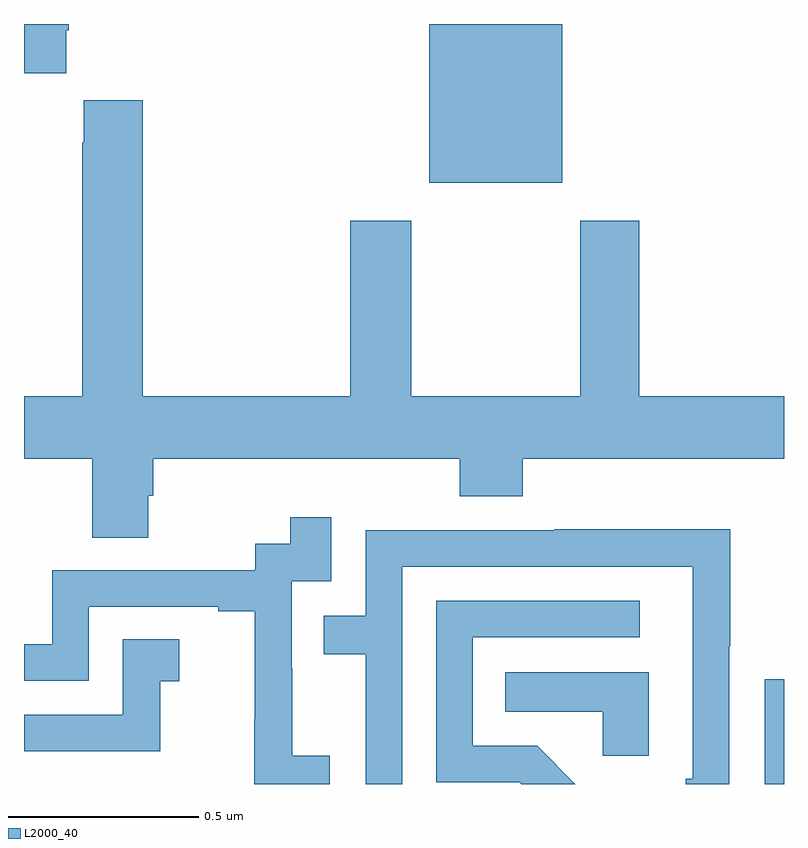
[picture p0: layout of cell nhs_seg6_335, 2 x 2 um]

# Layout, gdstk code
import gdstk
lib = gdstk.Library(unit=1e-6, precision=1e-09)
def R(c, l, rs):  # rectangles x0, y0, x1, y1
    for r in rs: c.add(gdstk.rectangle(r[:2], r[2:], *l))
def P(c, l, *ps):  # polygons
    for p in ps: c.add(gdstk.Polygon(p, *l))
L2000_40 = (2000, 40)

nhs_seg6_335 = lib.new_cell('nhs_seg6_335')
R(nhs_seg6_335, L2000_40, [(116.949,926.5,117,926.776), (116.066,928.082,116.416,928.5)])
P(nhs_seg6_335, L2000_40, [(115.111,928.483),(115.118,928.483),(115.118,928.5),(115,928.5),(115,928.371),(115.111,928.371)],
  [(115.327,927.258),(115.34,927.258),(115.34,927.356),(116.147,927.356),(116.147,927.257),(116.312,927.257),(116.312,927.356),(117,927.356),(117,927.52),(116.619,927.52),(116.619,927.982),(116.464,927.982),(116.464,927.52),(116.019,927.52),(116.019,927.982),(115.859,927.982),(115.859,927.52),(115.313,927.52),(115.313,928.3),(115.157,928.3),(115.157,928.187),(115.153,928.187),(115.153,927.52),(115,927.52),(115,927.356),(115.18,927.356),(115.18,927.148),(115.327,927.148)],
  [(115.804,926.575),(115.706,926.575),(115.706,926.804),(115.704,926.804),(115.704,927.033),(115.809,927.033),(115.809,927.202),(115.701,927.202),(115.701,927.132),(115.608,927.132),(115.608,927.063),(115.074,927.063),(115.074,926.868),(115,926.868),(115,926.772),(115.17,926.772),(115.17,926.967),(115.511,926.967),(115.511,926.955),(115.607,926.955),(115.607,926.671),(115.606,926.671),(115.606,926.5),(115.804,926.5)],
  [(115.995,927.072),(116.76,927.072),(116.76,926.514),(116.741,926.514),(116.741,926.5),(116.856,926.5),(116.856,926.863),(116.859,926.863),(116.859,927.17),(116.395,927.17),(116.395,927.168),(115.899,927.168),(115.899,926.943),(115.789,926.943),(115.789,926.842),(115.899,926.842),(115.899,926.5),(115.995,926.5)],
  [(116.35,926.601),(116.181,926.601),(116.181,926.886),(116.62,926.886),(116.62,926.982),(116.085,926.982),(116.085,926.505),(116.304,926.505),(116.309,926.5),(116.451,926.5)],
  [(115.359,926.771),(115.408,926.771),(115.408,926.881),(115.26,926.881),(115.26,926.682),(115,926.682),(115,926.586),(115.359,926.586)],
  [(116.644,926.794),(116.266,926.794),(116.266,926.69),(116.523,926.69),(116.523,926.575),(116.644,926.575)])

lib.write_gds('nhs_seg6_335.gds')
